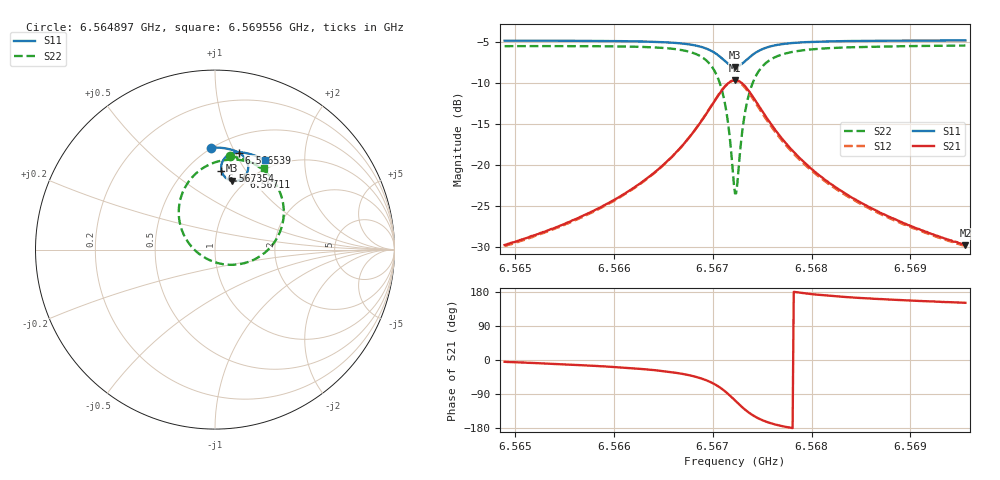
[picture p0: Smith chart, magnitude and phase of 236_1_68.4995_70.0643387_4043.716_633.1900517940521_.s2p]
#  HZ  S  RI  R  50.00
! Rohde & Schwarz Vector Network Analyzer
! Rohde-Schwarz,ZNB20-2Port,1311601062101988,3.16
! Created: UTC 3/20/2024, 5:14:15 PM
! freq[Hz]  re:S11  im:S11  re:S21  im:S21  re:S12  im:S12  re:S22  im:S22
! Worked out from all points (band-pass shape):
!   401 points, 6.564897 GHz to 6.569556 GHz, reference 50 ohm
!   highest |S21| = -9.69 dB at 6.567226 GHz (marker M1); lowest = -29.7 dB at 6.569556 GHz (marker M2)
!   |S21| within 3 dB of the highest: 6.566995 GHz to 6.567461 GHz (465.4 kHz wide, 0.00709 % of centre)
!   lowest |S11| = -8.1 dB at 6.567226 GHz (marker M3), VSWR 2.30, Z = 43.5 + j39.5 ohm
!   |S11| at or under -10 dB: nowhere
!   |S22| runs from -23.5 to -5.5 dB; largest |S21 - S12| = 0.017
!   S11 on the Smith chart (normalised r, x): 6.564897 GHz: 0.50, +0.83; 6.566539 GHz: 0.66, +1.04; 6.56711 GHz: 0.94, +0.94; 6.567354 GHz: 0.72, +0.78; 6.569556 GHz: 0.87, +1.29
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6.564897e9  -0.0207 0.5687  0.0326 -0.00268  0.032 -0.00338  0.0825 0.5205
6.5656774e9  0.0455 0.5658  0.0474 -0.0116  0.0465 -0.0122  0.1629 0.501
6.5661199e9  0.0873 0.5579  0.0632 -0.0237  0.0623 -0.0243  0.2222 0.4749
6.5664577e9  0.1239 0.5445  0.0838 -0.0447  0.0827 -0.0456  0.2829 0.4317
6.5665392e9  0.1339 0.5391  0.0905 -0.0534  0.0893 -0.0545  0.3007 0.4141
6.5667721e9  0.1646 0.5135  0.113 -0.0972  0.1114 -0.0993  0.3579 0.3282
6.5669352e9  0.1831 0.4755  0.1217 -0.1639  0.1185 -0.1676  0.3834 0.2
6.56704e9  0.1815 0.4354  0.1005 -0.2343  0.0938 -0.2391  0.3463 0.0656
6.5671099e9  0.1631 0.4044  0.054 -0.2872  0.0429 -0.2908  0.2586 -0.0317
6.5671565e9  0.1395 0.3881  0.00262 -0.3132  -0.0113 -0.3137  0.1624 -0.076
6.5672031e9  0.1087 0.3815  -0.061 -0.3199  -0.0764 -0.3154  0.0457 -0.0814
6.5672264e9  0.0925 0.3834  -0.0941 -0.3137  -0.1089 -0.3064  -0.0125 -0.066
6.5672497e9  0.077 0.3889  -0.1251 -0.301  -0.1388 -0.2913  -0.0661 -0.0392
6.5673079e9  0.0475 0.4142  -0.1846 -0.2487  -0.193 -0.2348  -0.1631 0.062
6.5673545e9  0.0361 0.4401  -0.2089 -0.1981  -0.2124 -0.184  -0.1971 0.1542
6.5674477e9  0.0394 0.4847  -0.2105 -0.1117  -0.2084 -0.1009  -0.1853 0.3048
6.5675874e9  0.0669 0.5216  -0.1735 -0.0408  -0.1697 -0.0347  -0.1062 0.424
6.5677505e9  0.0992 0.5375  -0.1334 -0.00697  -0.1298 -0.00387  -0.0233 0.4773
6.5680067e9  0.1384 0.5422  -0.0933 0.0104  -0.0911 0.0118  0.0643 0.5001
6.568391e9  0.1817 0.5362  -0.0623 0.0161  -0.0608 0.0168  0.1438 0.4984
6.568787e9  0.2177 0.5255  -0.0453 0.0169  -0.0444 0.0172  0.1985 0.4866
6.5695557e9  0.2773 0.4987  -0.0285 0.0158  -0.0279 0.0159  0.2738 0.4553
